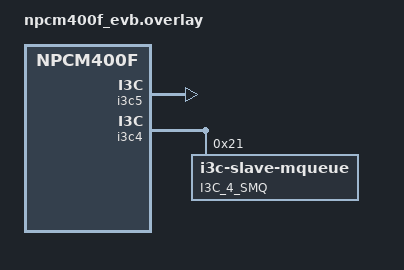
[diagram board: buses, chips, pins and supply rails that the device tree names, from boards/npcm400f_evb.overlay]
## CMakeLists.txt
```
# SPDX-License-Identifier: Apache-2.0

cmake_minimum_required(VERSION 3.13.1)
find_package(Zephyr REQUIRED HINTS $ENV{ZEPHYR_BASE})
project(npcm400f_evb_test)

#FILE(GLOB app_sources src/*.c src/test_gpio/test*.c)
FILE(GLOB app_sources src/*.c)
target_sources(app PRIVATE ${app_sources})
```

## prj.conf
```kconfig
CONFIG_THREAD_RUNTIME_STATS=y

CONFIG_ZTEST=y

CONFIG_I3C=y
#CONFIG_I3C_SLAVE=y
#CONFIG_I3C_SLAVE_MQUEUE=y

#CONFIG_SHELL=y
#CONFIG_SHELL_BACKEND_SERIAL_INIT_PRIORITY=99

CONFIG_MAIN_STACK_SIZE=16384
CONFIG_ISR_STACK_SIZE=8192
CONFIG_ZTEST_STACKSIZE=16384
CONFIG_IDLE_STACK_SIZE=4096
CONFIG_SYSTEM_WORKQUEUE_STACK_SIZE=16384
CONFIG_TEST_EXTRA_STACKSIZE=8192
CONFIG_PRIVILEGED_STACK_SIZE=4096
#CONFIG_SHELL_STACK_SIZE=8192

CONFIG_NO_OPTIMIZATIONS=y

CONFIG_HEAP_MEM_POOL_SIZE=65536
#CONFIG_STACK_SENTINEL=y
CONFIG_LOG=y

#CONFIG_THREAD_ANALYZER=y

# Following configuration declare for rand32
CONFIG_ENTROPY_GENERATOR=y
CONFIG_TEST_RANDOM_GENERATOR=y
```

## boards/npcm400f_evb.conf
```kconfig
# PECI driver
CONFIG_PECI=n
CONFIG_PECI_NPCM4XX=n

CONFIG_I3C=y
CONFIG_I3C_NPCM4XX=y

CONFIG_I3C_SLAVE=y
CONFIG_I3C_SLAVE_MQUEUE=y

#CONFIG_TIMESLICING=y
#CONFIG_TIMESLICE_SIZE=1


#CONFIG_THREAD_ANALYZER=y
#CONFIG_THREAD_ANALYZER_USE_PRINTK=y
#CONFIG_THREAD_ANALYZER_AUTO=y
#CONFIG_THREAD_ANALYZER_AUTO_INTERVAL=5
```

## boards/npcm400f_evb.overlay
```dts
/*
 * Copyright (c) 2023 Nuvoton Technology Corporation.
 *
 * SPDX-License-Identifier: Apache-2.0
 */

&i3c5 {
	status = "okay";
	assigned-address = <0x20>;
	part-id = <0x1234>;
	vendor-def-id = <0x567>;
	bcr = <0x66>;
	dcr = <0xCC>;
	busno = <0x5>;
	pinctrl-0 = <&pinctrl_i3c5_default>;
	i2c-scl-hz = <100000>;
	i3c-scl-hz = <12500000>;

	/*test-i3c-dev@420000ABCD12345678 {*/
	/*	compatible = "vnd,i3c-device";*/
	/*	label = "TEST_I3C_DEV_42";*/
	/*	reg = < 0x42 0xABCD 0x12345678 >;*/
	/*};*/

	/*test-i3c-i2c-dev@380000000000000050 {*/
	/*	compatible = "vnd,i3c-i2c-device";*/
	/*	label = "TEST_I3C_I2C_DEV_38";*/
	/*	reg = < 0x38 0x0 0x50 >;*/
	/*};*/
};

&i3c4 {
	status = "okay";
	slave;
	secondary;
	assigned-address = <0x21>;
	part-id = <0x1234>;
	vendor-def-id = <0x567>;
	bcr = <0x66>;
	dcr = <0xCC>;
	busno = <0x4>;
	pinctrl-0 = <&pinctrl_i3c4_default>;
	i2c-scl-hz = <100000>;
	i3c-scl-hz = <12500000>;
	/* ibi-append-pec; */
	/* priv-xfer-pec; */

	/* #address-cells = <0x01> */
	/* #size-cells = <0x00> */

	i3c4_smq:i3c-slave-mqueue@21 {
		compatible = "i3c-slave-mqueue";
		reg = <0x21>;
		msg-size = <256>;
		num-of-msgs = <4>;
		mandatory-data-byte = <0xAE>;
		label = "I3C_4_SMQ";
		status = "okay";
	};
};
```

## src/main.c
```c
/*
 * Copyright (c) 2023 Nuvoton Technology Corporation.
 * SPDX-License-Identifier: Apache-2.0
 */

#include <ztest.h>
#include <debug/thread_analyzer.h>
#include "ast_test.h"

#define LOG_MODULE_NAME aspeed_test

#include <logging/log.h>
LOG_MODULE_REGISTER(LOG_MODULE_NAME);

extern void test_i3c(void);

#define run_test_suite(suite, type) \
	nuvoton_run_test_suite(#suite, _##suite, type)

#define TEST_MODULE_CNT		1
#define TEST_STACKSIZE		8192

#define TEST_CI_TIMEOUT		60
#define TEST_SLT_TIMEOUT	20
#define TEST_FT_TIMEOUT		5

#define TEST_CI_FUNC_COUNT	2048
#define TEST_SLT_FUNC_COUNT	1
#define TEST_FT_FUNC_COUNT	1

K_THREAD_STACK_ARRAY_DEFINE(test_thread_stack, TEST_MODULE_CNT, TEST_STACKSIZE);

static struct aspeed_test_param test_params[] = {
	{ AST_TEST_CI, "AST_TEST_CI", TEST_CI_FUNC_COUNT, TEST_CI_TIMEOUT },
	{ AST_TEST_SLT, "AST_TEST_SLT", TEST_SLT_FUNC_COUNT, TEST_SLT_TIMEOUT },
	{ AST_TEST_FT, "AST_TEST_FT", TEST_FT_FUNC_COUNT, TEST_FT_TIMEOUT },
};

typedef int (*test_func_t) (int count, enum aspeed_test_type);

static struct aspeed_tests aspeed_testcase[TEST_MODULE_CNT];
static struct k_thread ztest_thread[TEST_MODULE_CNT];
static int unit_test_count;
static int unit_test_remain;

static void aspeed_pre_init(void)
{
#if CONFIG_BOARD_AST1030_FT
	aspeed_ft_pre_init();
#endif
}

static void aspeed_post_init(void)
{
#if CONFIG_BOARD_AST1030_FT
	aspeed_ft_post_init(aspeed_testcase, TEST_MODULE_CNT);
#endif
}

static void aspeed_test_cb(void *a, void *b, void *c)
{
	int num = (int)a;
	int count = (int)b;
	enum aspeed_test_type type = (enum aspeed_test_type)c;
	int ret = TC_FAIL;

	TC_START(aspeed_testcase[num].name);

	LOG_DBG("Current thread id: %d", (int)k_current_get());
	ret = aspeed_testcase[num].test(count, type);
	aspeed_testcase[num].results = ret;

	unit_test_remain--;
	Z_TC_END_RESULT(ret, aspeed_testcase[num].name);
}

static int nuvoton_create_test(struct unit_test *test, int thread_num,
			      int count, enum aspeed_test_type type)
{
	int ret = TC_PASS;
	k_tid_t pid;

	if (IS_ENABLED(CONFIG_MULTITHREADING)) {
		pid = k_thread_create(&ztest_thread[thread_num],
				      test_thread_stack[thread_num],
				      TEST_STACKSIZE,
				      (k_thread_entry_t) aspeed_test_cb,
				      (void *)thread_num,
				      (void *)count, (void *)type,
				      CONFIG_ZTEST_THREAD_PRIORITY,
				      test->thread_options | K_INHERIT_PERMS,
				      K_FOREVER);

		if (test->name != NULL) {
			k_thread_name_set(&ztest_thread[thread_num],
					  test->name);
		}

	} else {
		LOG_ERR("multithreading is not supported");
		ret = TC_FAIL;
	}

	aspeed_testcase[thread_num].name = test->name;
	aspeed_testcase[thread_num].test = (test_func_t) test->test;
	aspeed_testcase[thread_num].results = -1;

	LOG_INF("Create thread %s\t to num %d, pid: %d",
			test->name, thread_num, (int)pid);

	return ret;
}

static void nuvoton_run_test(void)
{
	int i;

	for (i = 0; i < unit_test_count; i++) {
		k_thread_start(&ztest_thread[i]);
	}
}

static void aspeed_show_banner(bool is_passed)
{
	if (is_passed) {
		LOG_ERR("\x1b[;32;1m\n"
				"########     ###     ######   ######  ######## ########\n"
				"##     ##   ## ##   ##    ## ##    ## ##       ##     ##\n"
				"##     ##  ##   ##  ##       ##       ##       ##     ##\n"
				"########  ##     ##  ######   ######  ######   ##     ##\n"
				"##        #########       ##       ## ##       ##     ##\n"
				"##        ##     ## ##    ## ##    ## ##       ##     ##\n"
				"##        ##     ##  ######   ######  ######## ########\n"
				"\x1b[0;m\n"
		      );
	} else {
		LOG_ERR("\x1b[;31;1m\n"
				"########    ###    #### ##       ######## ########\n"
				"##         ## ##    ##  ##       ##       ##     ##\n"
				"##        ##   ##   ##  ##       ##       ##     ##\n"
				"######   ##     ##  ##  ##       ######   ##     ##\n"
				"##       #########  ##  ##       ##       ##     ##\n"
				"##       ##     ##  ##  ##       ##       ##     ##\n"
				"##       ##     ## #### ######## ######## ########\n"
				"\x1b[0;m\n"
		      );
	}
}

static void aspeed_terminate_test(int type)
{
	bool is_passed = true;
	int i;

	LOG_INF("\nTest Counter: %d. Test Type: %s.",
		test_params[type].test_count,
		test_params[type].name);

	for (i = 0; i < unit_test_count; i++) {
		k_thread_abort(&ztest_thread[i]);
		if (aspeed_testcase[i].results)
			is_passed = false;

		LOG_INF("Case %d - %s results: %s", i + 1,
			aspeed_testcase[i].name,
			aspeed_testcase[i].results ? "FAILED" : "PASSED");
	}

	aspeed_show_banner(is_passed);
	zassert_equal(is_passed, true, "%s FAILED");
}

static void nuvoton_run_test_suite(const char *name, struct unit_test *suite,
				  int type)
{
	int timer = 0;
	int fail = 0;

	aspeed_pre_init();

	while (suite->test) {
		fail += nuvoton_create_test(suite, unit_test_count++,
				    test_params[type].test_count, type);
		suite++;
		if (unit_test_count >= TEST_MODULE_CNT) {
			LOG_ERR("unit test numbers are limited to %d\n",
					unit_test_count);
			break;
		}
	}

	if (fail)
		goto end;

	unit_test_remain = unit_test_count;

	nuvoton_run_test();

	while (unit_test_remain && (timer < test_params[type].timeout)) {
		timer++;
		k_sleep(K_SECONDS(1));
	}

	if (unit_test_remain) {
		LOG_ERR("TIMEOUT ! Total test case: %d, remaining: %d",
			unit_test_count, unit_test_remain);
		fail++;
	}

end:
	aspeed_post_init();
	aspeed_terminate_test(type);
	zassert_equal(fail, 0, "test ast1030 failed");
}

static void nuvoton_test_platform(void)
{
	ztest_test_suite(test_npcm400f,
			 ztest_unit_test(test_i3c)
			 );

	run_test_suite(test_npcm400f, AST_TEST_CI);
}

/* test case main entry */
void test_main(void)
{
	ztest_test_suite(platform_test,
			 ztest_unit_test(nuvoton_test_platform));

	ztest_run_test_suite(platform_test);
}
```

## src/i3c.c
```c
/*
 * Copyright (c) 2023 Nuvoton Technology Corporation.
 * SPDX-License-Identifier: Apache-2.0
 */

#include <tc_util.h>
#include <kernel.h>
#include <device.h>
#include <drivers/i3c/i3c.h>
#include <random/rand32.h>
#include <soc.h>
#include "ast_test.h"


#include <common/reg/reg_def.h>
#include <common/reg/reg_access.h>

#define LOG_MODULE_NAME i3c_test

#include <logging/log.h>
LOG_MODULE_REGISTER(LOG_MODULE_NAME);


#define TEST_PRIV_XFER_SIZE	256
#define TEST_IBI_PAYLOAD_SIZE 256
#define MAX_DATA_SIZE		256		/* < config->msg_size;*/

/* external reference */
extern int i3c_slave_mqueue_read(const struct device *dev, uint8_t *dest, int budget);
extern int i3c_slave_mqueue_write(const struct device *dev, uint8_t *src, int size);

#define TEST_I3C_SLAVE_THREAD_STACK_SIZE	2048
#define TEST_I3C_SLAVE_THREAD_PRIO		CONFIG_ZTEST_THREAD_PRIORITY

K_THREAD_STACK_DEFINE(test_i3c_slave_thread_stack_area, TEST_I3C_SLAVE_THREAD_STACK_SIZE);
static struct k_thread test_i3c_slave_thread;

static uint8_t test_data_tx_mst[MAX_DATA_SIZE];
static uint8_t test_data_rx_mst[MAX_DATA_SIZE];
static uint8_t test_data_tx_slv[MAX_DATA_SIZE];
static uint8_t test_data_rx_slv[MAX_DATA_SIZE];
static struct i3c_ibi_payload i3c_payload;
static struct k_sem ibi_complete;
static volatile uint8_t mdb;

static struct i3c_ibi_payload *test_ibi_write_requested(struct i3c_dev_desc *desc)
{
	/* reset rx buffer */
	/* memset(test_data_rx_mst, 0x00, sizeof(test_data_rx_mst)); */

	i3c_payload.buf = test_data_rx_mst;
	i3c_payload.size = 0;
	i3c_payload.max_payload_size = MAX_DATA_SIZE;

	return &i3c_payload;
}

static void test_ibi_write_done(struct i3c_dev_desc *desc)
{
	if (IS_MDB_PENDING_READ_NOTIFY(mdb)) {
		k_sem_give(&ibi_complete);
	}
}

static struct i3c_ibi_callbacks i3c_ibi_def_callbacks = {
	.write_requested = test_ibi_write_requested,
	.write_done = test_ibi_write_done,
};

static void prepare_test_data(uint8_t *data, int nbytes)
{
	uint32_t value;
	int i, shift;

	value = sys_rand32_get();
	for (i = 0; i < nbytes; i++) {
		shift = (i & 0x3) * 8;
		data[i] = (value >> shift) & 0xff;
		if ((i & 0x3) == 0x3) {
			value = sys_rand32_get();
		}
	}
}

static void test_i3c_slave_task(void *arg1, void *arg2, void *arg3)
{
	const struct device *slave_mq = (const struct device *)arg1;
	int ret = 0;

	int counter = 0; /* for debug only */

	for (;;) {
		/* Test part 1: read and compare the data */

		/* reset rx buffer */
		memset(test_data_rx_slv, 0x00, sizeof(test_data_rx_slv));

		while (1) {
			ret = i3c_slave_mqueue_read(slave_mq, (uint8_t *)test_data_rx_slv,
				TEST_PRIV_XFER_SIZE);
			if (ret) {
				if (memcmp(test_data_tx_mst, test_data_rx_slv, TEST_PRIV_XFER_SIZE)
					== 0) {
					break;
				}
				LOG_WRN("$");
			}

			k_sleep(K_USEC(1));
		}

		ast_zassert_mem_equal(test_data_tx_mst, test_data_rx_slv, TEST_PRIV_XFER_SIZE,
			"i3c private write test fail: data mismatch %d %X %X", counter,
			test_data_tx_mst[0], test_data_rx_slv[0]);

		/* Test part 2: send IBI to notify the master device to get the pending data */
		/* prepare_test_data(test_data_tx_slv, TEST_IBI_PAYLOAD_SIZE); */

		/* for debug only */
		memcpy(test_data_tx_slv, test_data_rx_slv, TEST_IBI_PAYLOAD_SIZE);
		ret = i3c_slave_mqueue_write(slave_mq, test_data_tx_slv, TEST_IBI_PAYLOAD_SIZE);
		ast_zassert_equal(ret, 0, "failed to do slave mqueue write");
		counter++;
	}
}

static void test_i3c_ci(int count)
{
	const struct device *dev_master, *dev_slave, *slave_mq;
	struct i3c_dev_desc slave_i3c;
	struct i3c_dev_desc *slave;
	struct i3c_priv_xfer xfer[2];
	int ret, i;

	dev_master = device_get_binding(DT_LABEL(DT_NODELABEL(i3c5)));
	dev_slave = device_get_binding(DT_LABEL(DT_NODELABEL(i3c4)));
	slave_mq = device_get_binding(DT_LABEL(DT_NODELABEL(i3c4_smq)));

	/* Not ready, do not use */
	if (!device_is_ready(dev_master) || !device_is_ready(dev_slave) ||
		!device_is_ready(slave_mq)) {
		return;
	}

	/* prepare slave device info for attach */
	slave = &slave_i3c;
	slave->info.static_addr = DT_PROP(DT_BUS(DT_NODELABEL(i3c4_smq)), assigned_address);
	slave->info.assigned_dynamic_addr = slave->info.static_addr;
	slave->info.pid = 0x063212341567;
	slave->info.i2c_mode = 1;	/* default run i2c mode */

	/* example to attach lsm6dso */
	/*
	 * #define LSM6DSO_ADDR    0x6B
	 *
	 * slave->info.static_addr = LSM6DSO_ADDR;
	 * slave->info.assigned_dynamic_addr = LSM6DSO_ADDR;
	 * slave->info.i2c_mode = 1;
	 */

	if (slave == NULL)
		return;

	i3c_master_attach_device(dev_master, slave);

	/* PinSelect(Pin_M3_GPIOC4) */
	/* PinSelect(Pin_L3_GPIOC5)	*/
	/* RegClrBit(M8(0x400C3000 + 0x62), BIT4 | BIT5); */
	/* RegSetBit(M8(0x40081000 + (0x0C * 0x2000L)), MaskBit(4) | MaskBit(5)); */
	/* RegClrBit(M8(0x40081000 + (0x0C * 0x2000L) + 0x06), MaskBit(4) | MaskBit(5)); */
	/* RegSetBit(M8(0x40081000 + (0x0C * 0x2000L) + 0x02), MaskBit(4) | MaskBit(5)); */

	/* try to enter i3c mode */
	/* assign dynamic address with setdasa or entdaa, doesn't support setaasa in slave mode */
	i3c_master_send_rstdaa(dev_master);
	i3c_master_send_aasa(dev_master); /* Compatibility test for JESD403 */
	i3c_master_send_entdaa(slave);
	slave->info.i2c_mode = 0;

	/* must wait for a while, for slave finish sir_allowed_worker ? */
	/* k_sleep(K_USEC(1)); */

	/* try to collect more slave info if called setaasa in the former */
	i3c_master_send_getpid(dev_master, slave->info.dynamic_addr, &slave->info.pid);
	i3c_master_send_getbcr(dev_master, slave->info.dynamic_addr, &slave->info.bcr);

	/* setup callback function to receive mdb */
	ret = i3c_master_request_ibi(slave, &i3c_ibi_def_callbacks);
	ast_zassert_equal(ret, 0, "failed to request sir");

	/* sent enec to slave to enable ibi feature */
	ret = i3c_master_enable_ibi(slave);
	ast_zassert_equal(ret, 0, "failed to enable sir");

	/* get request from message queue and write back response message with ibi */
	k_thread_create(&test_i3c_slave_thread, test_i3c_slave_thread_stack_area,
		TEST_I3C_SLAVE_THREAD_STACK_SIZE, test_i3c_slave_task, (void *)slave_mq,
		NULL, NULL, TEST_I3C_SLAVE_THREAD_PRIO, 0, K_NO_WAIT);

	mdb = DT_PROP(DT_NODELABEL(i3c4_smq), mandatory_data_byte);

	for (i = 0; i < count; i++) {
		/* prepare request message */
		prepare_test_data(test_data_tx_mst, TEST_PRIV_XFER_SIZE);
		/* test_data_tx_mst[0] = i; */ /* for debug only */
		/* k_usleep(100); */ /* debug only */

		/* create semaphore to synchronize master and slave between ibi */
		if (IS_MDB_PENDING_READ_NOTIFY(mdb)) {
			k_sem_init(&ibi_complete, 0, 1);
		}

		/* Requester send request message */
		xfer[0].rnw = 0;
		xfer[0].len = TEST_PRIV_XFER_SIZE;
		xfer[0].data.out = test_data_tx_mst;
		ret = i3c_master_priv_xfer(slave, xfer, 1);

		/*
		 * if MDB group ID is pending read notification:
		 *    master <--- IBI notification --------- slave
		 *    master ---- private read transfer ---> slave
		 * else:
		 *    master <--- IBI with data --------- slave
		 */

		if (IS_MDB_PENDING_READ_NOTIFY(mdb)) {
			/* master waits IBI from the slave */
			k_sem_take(&ibi_complete, K_FOREVER);

			/* check result */
			ast_zassert_equal(mdb, test_data_rx_mst[0],
				"IBI MDB mismatch: %02x %02x\n",
				ret, test_data_rx_mst[0]);
		}

		/* initiate a private read transfer to read the pending data */
		xfer[0].rnw = 1;
		xfer[0].len = TEST_IBI_PAYLOAD_SIZE;
		xfer[0].data.in = test_data_rx_mst;
		ret = i3c_master_priv_xfer(slave, &xfer[0], 1);
		ast_zassert_mem_equal(test_data_tx_slv, test_data_rx_mst, TEST_IBI_PAYLOAD_SIZE,
			"data mismatch %d %X %X", i, test_data_tx_slv[0], test_data_rx_mst[0]);
		/*k_usleep(100);*/ /* debug only */
	}
}

int test_i3c(int count, enum aspeed_test_type type)
{
	printk("%s, count: %d, type: %d\n", __func__, count, type);

	if (type == AST_TEST_CI) {
		test_i3c_ci(count);
		return ast_ztest_result();
	}

	return AST_TEST_PASS;
}
```
